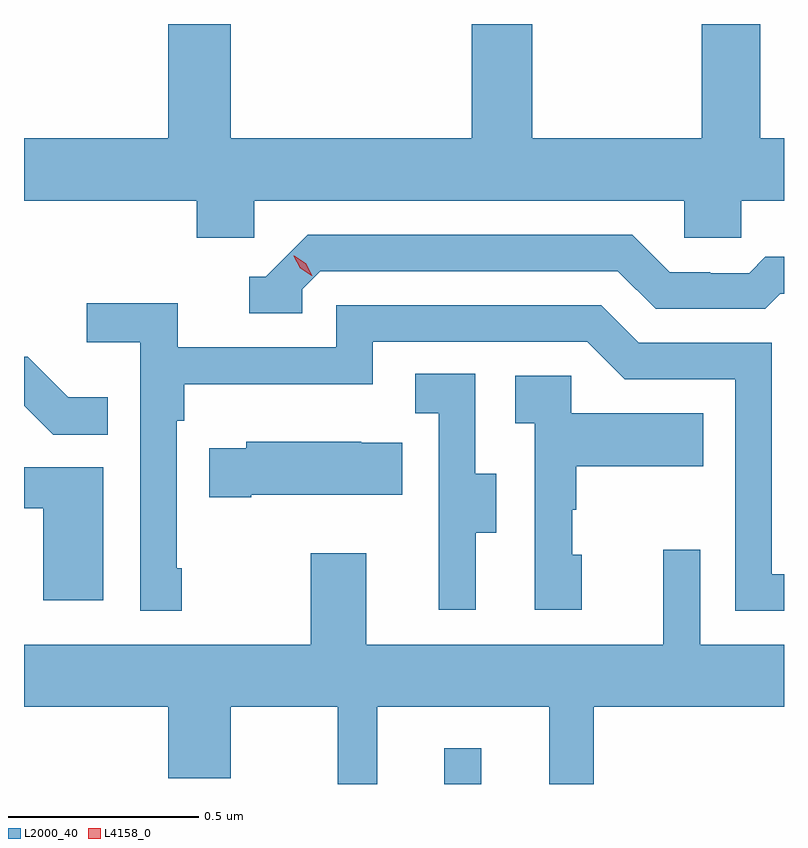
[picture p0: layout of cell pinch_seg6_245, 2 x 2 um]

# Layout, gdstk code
import gdstk
lib = gdstk.Library(unit=1e-6, precision=1e-09)
def R(c, l, rs):  # rectangles x0, y0, x1, y1
    for r in rs: c.add(gdstk.rectangle(r[:2], r[2:], *l))
def P(c, l, *ps):  # polygons
    for p in ps: c.add(gdstk.Polygon(p, *l))
L2000_40 = (2000, 40)
L4158_0 = (4158, 0)

pinch_seg6_245 = lib.new_cell('pinch_seg6_245')
R(pinch_seg6_245, L2000_40, [(1100.798,923.157,1100.895,923.251)])
P(pinch_seg6_245, L2000_40, [(1100.298,924.692),(1101.429,924.692),(1101.429,924.594),(1101.579,924.594),(1101.579,924.692),(1101.692,924.692),(1101.692,924.856),(1101.63,924.856),(1101.63,925.157),(1101.475,925.157),(1101.475,924.856),(1101.03,924.856),(1101.03,925.157),(1100.87,925.157),(1100.87,924.856),(1100.236,924.856),(1100.236,925.157),(1100.072,925.157),(1100.072,924.856),(1099.692,924.856),(1099.692,924.692),(1100.147,924.692),(1100.147,924.594),(1100.298,924.594)],
  [(1100.424,924.459),(1100.472,924.507),(1101.255,924.507),(1101.354,924.408),(1101.643,924.408),(1101.682,924.447),(1101.692,924.447),(1101.692,924.544),(1101.643,924.544),(1101.601,924.501),(1101.498,924.501),(1101.498,924.504),(1101.391,924.504),(1101.292,924.603),(1100.439,924.603),(1100.328,924.492),(1100.285,924.492),(1100.285,924.396),(1100.424,924.396)],
  [(1100.107,923.725),(1100.094,923.725),(1100.094,924.113),(1100.114,924.113),(1100.114,924.209),(1100.61,924.209),(1100.61,924.321),(1101.174,924.321),(1101.273,924.222),(1101.564,924.222),(1101.564,923.613),(1101.692,923.613),(1101.692,923.709),(1101.66,923.709),(1101.66,924.318),(1101.31,924.318),(1101.211,924.417),(1100.514,924.417),(1100.514,924.306),(1100.096,924.306),(1100.096,924.422),(1099.857,924.422),(1099.857,924.32),(1099.998,924.32),(1099.998,923.613),(1100.107,923.613)],
  [(1099.913,924.175),(1099.809,924.175),(1099.702,924.282),(1099.692,924.282),(1099.692,924.153),(1099.769,924.076),(1099.913,924.076)],
  [(1100.881,923.818),(1100.935,923.818),(1100.935,923.973),(1100.88,923.973),(1100.88,924.236),(1100.721,924.236),(1100.721,924.133),(1100.784,924.133),(1100.784,923.829),(1100.783,923.829),(1100.783,923.616),(1100.881,923.616)],
  [(1101.16,923.76),(1101.135,923.76),(1101.135,923.879),(1101.145,923.879),(1101.145,923.993),(1101.479,923.993),(1101.479,924.133),(1101.132,924.133),(1101.132,924.231),(1100.985,924.231),(1100.985,924.107),(1101.036,924.107),(1101.036,923.616),(1101.16,923.616)],
  [(1100.29,923.918),(1100.687,923.918),(1100.687,924.055),(1100.579,924.055),(1100.579,924.058),(1100.277,924.058),(1100.277,924.04),(1100.179,924.04),(1100.179,923.911),(1100.29,923.911)],
  [(1099.9,923.991),(1099.692,923.991),(1099.692,923.883),(1099.742,923.883),(1099.742,923.64),(1099.9,923.64)],
  [(1100.621,923.36),(1101.074,923.36),(1101.074,923.157),(1101.191,923.157),(1101.191,923.36),(1101.692,923.36),(1101.692,923.524),(1101.471,923.524),(1101.471,923.773),(1101.374,923.773),(1101.374,923.524),(1100.593,923.524),(1100.593,923.764),(1100.446,923.764),(1100.446,923.524),(1099.692,923.524),(1099.692,923.36),(1100.072,923.36),(1100.072,923.172),(1100.236,923.172),(1100.236,923.36),(1100.518,923.36),(1100.518,923.157),(1100.621,923.157)])
P(pinch_seg6_245, L4158_0, [(1100.449,924.494),(1100.419,924.514),(1100.402,924.546),(1100.402,924.547),(1100.403,924.547),(1100.434,924.527),(1100.45,924.494),(1100.45,924.494)])

lib.write_gds('pinch_seg6_245.gds')
